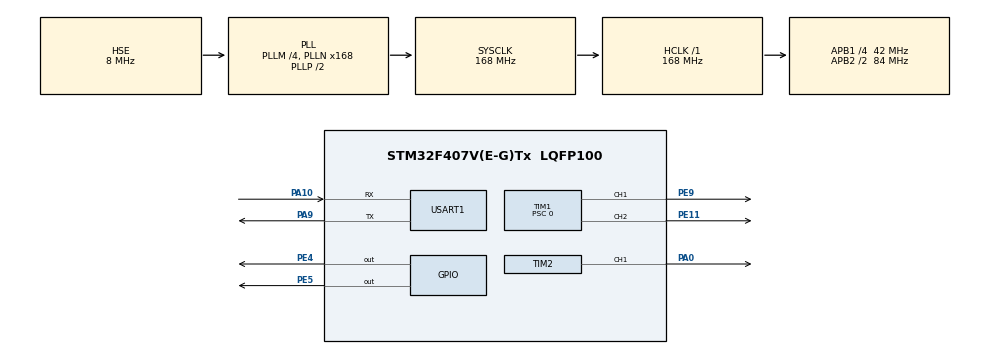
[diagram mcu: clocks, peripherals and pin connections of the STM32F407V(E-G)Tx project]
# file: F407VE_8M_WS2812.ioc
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Mcu.Family=STM32F4
Mcu.Name=STM32F407V(E-G)Tx
Mcu.Package=LQFP100
NVIC.PriorityGroup=NVIC_PRIORITYGROUP_4
NVIC.USART1_IRQn=true\:0\:0\:false\:false\:true\:true\:true
PA0-WKUP.Signal=S_TIM2_CH1_ETR
PA10.GPIO_PuPd=GPIO_PULLUP
PA10.Mode=Asynchronous
PA10.Signal=USART1_RX
PA13.Mode=Serial_Wire
PA13.Signal=SYS_JTMS-SWDIO
PA14.Mode=Serial_Wire
PA14.Signal=SYS_JTCK-SWCLK
PA9.GPIO_PuPd=GPIO_PULLUP
PA9.Mode=Asynchronous
PA9.Signal=USART1_TX
PC14-OSC32_IN.Mode=LSE-External-Oscillator
PC14-OSC32_IN.Signal=RCC_OSC32_IN
PC15-OSC32_OUT.Mode=LSE-External-Oscillator
PC15-OSC32_OUT.Signal=RCC_OSC32_OUT
PE11.Signal=S_TIM1_CH2
PE4.GPIO_ModeDefaultOutputPP=GPIO_MODE_OUTPUT_PP
PE4.GPIO_PuPd=GPIO_PULLUP
PE4.GPIO_Speed=GPIO_SPEED_FREQ_VERY_HIGH
PE4.PinState=GPIO_PIN_SET
PE4.Signal=GPIO_Output
PE5.GPIO_ModeDefaultOutputPP=GPIO_MODE_OUTPUT_PP
PE5.GPIO_PuPd=GPIO_PULLUP
PE5.GPIO_Speed=GPIO_SPEED_FREQ_VERY_HIGH
PE5.PinState=GPIO_PIN_SET
PE5.Signal=GPIO_Output
PE9.Signal=S_TIM1_CH1
PH0-OSC_IN.Mode=HSE-External-Oscillator
PH0-OSC_IN.Signal=RCC_OSC_IN
PH1-OSC_OUT.Mode=HSE-External-Oscillator
PH1-OSC_OUT.Signal=RCC_OSC_OUT
ProjectManager.HeapSize=0x200
ProjectManager.StackSize=0x400
ProjectManager.TargetToolchain=MDK-ARM V5.32
RCC.48MHZClocksFreq_Value=84000000
RCC.AHBFreq_Value=168000000
RCC.APB1CLKDivider=RCC_HCLK_DIV4
RCC.APB1Freq_Value=42000000
RCC.APB1TimFreq_Value=84000000
RCC.APB2CLKDivider=RCC_HCLK_DIV2
RCC.APB2Freq_Value=84000000
RCC.APB2TimFreq_Value=168000000
RCC.CortexFreq_Value=168000000
RCC.HCLKFreq_Value=168000000
RCC.HSE_VALUE=8000000
RCC.HSI_VALUE=16000000
RCC.PLLM=4
RCC.PLLN=168
RCC.PLLSourceVirtual=RCC_PLLSOURCE_HSE
RCC.SYSCLKFreq_VALUE=168000000
RCC.SYSCLKSource=RCC_SYSCLKSOURCE_PLLCLK
RCC.VCOOutputFreq_Value=336000000
SH.S_TIM1_CH1.0=TIM1_CH1,PWM Generation1 CH1
SH.S_TIM1_CH2.0=TIM1_CH2,PWM Generation2 CH2
SH.S_TIM2_CH1_ETR.0=TIM2_CH1,PWM Generation1 CH1
TIM1.AutoReloadPreload=TIM_AUTORELOAD_PRELOAD_DISABLE
TIM1.Channel-PWM\ Generation1\ CH1=TIM_CHANNEL_1
TIM1.Channel-PWM\ Generation2\ CH2=TIM_CHANNEL_2
TIM1.OC1Preload_PWM=ENABLE
TIM1.Period=209
TIM1.Prescaler=0
TIM1.Pulse-PWM\ Generation1\ CH1=0
TIM2.Channel-PWM\ Generation1\ CH1=TIM_CHANNEL_1
TIM2.Period=104
USART1.VirtualMode=VM_ASYNC
VP_TIM1_VS_ClockSourceINT.Mode=Internal
VP_TIM2_VS_ClockSourceINT.Mode=Internal
board=custom

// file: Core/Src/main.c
/* USER CODE BEGIN Header */
/**
  ******************************************************************************
  * @file           : main.c
  * @brief          : Main program body
  ******************************************************************************
  * @attention
  *
  * <h2><center>&copy; Copyright (c) 2021 STMicroelectronics.
  * All rights reserved.</center></h2>
  *
  * This software component is licensed by ST under BSD 3-Clause license,
  * the "License"; You may not use this file except in compliance with the
  * License. You may obtain a copy of the License at:
  *                        opensource.org/licenses/BSD-3-Clause
  *
  ******************************************************************************
  */
/* USER CODE END Header */
#include "main.h"
#include "tim.h"
#include "usart.h"
#include "gpio.h"

/* USER CODE BEGIN Includes */
#include "WS2812/ws2812.h"
/* USER CODE END Includes */

/* USER CODE BEGIN PV */
MyUARTHandle uart1;
uint8_t uartBuf1[100];
uint8_t testBuf[30];
/* USER CODE END PV */

void SystemClock_Config(void);

int main(void)
{
  /* USER CODE BEGIN 1 */
  uint32_t i;
  WS2812_Dev ws2812Dev1, ws2812Dev2, ws2812Dev3; // TIM1CH1, TIM1CH2, TIM2CH1
  /* USER CODE END 1 */

  /* MCU Configuration--------------------------------------------------------*/

  /* Reset of all peripherals, Initializes the Flash interface and the Systick. */
  HAL_Init();

  /* Configure the system clock */
  SystemClock_Config();

  /* Initialize all configured peripherals */
  MX_GPIO_Init();
  MX_USART1_UART_Init();
  MX_TIM1_Init();
  MX_TIM2_Init();
  /* USER CODE BEGIN 2 */
  Delay_Init(168);
  MyUART_Init(&uart1, USART1, uartBuf1, 100);
  WS2812_Init(&ws2812Dev1, DMA2_Stream5, DMA_CHANNEL_6, DMA2_Stream5_IRQn, &htim1);
  WS2812_Init(&ws2812Dev2, DMA2_Stream5, DMA_CHANNEL_6, DMA2_Stream5_IRQn, &htim1);
  WS2812_Init(&ws2812Dev3, DMA1_Stream1, DMA_CHANNEL_3, DMA1_Stream1_IRQn, &htim2);
  for(i = 0; i < 30; i += 2)
  {
    testBuf[i] = 0x00;
    testBuf[i + 1] = 0x80;
  }
  /* USER CODE END 2 */

  /* Infinite loop */
  while (1)
  {

    /* USER CODE BEGIN 3 */
    WS2812_Write(&ws2812Dev1, TIM_CHANNEL_1, testBuf, 30);
    WS2812_Write(&ws2812Dev2, TIM_CHANNEL_2, testBuf, 30);
    WS2812_Write(&ws2812Dev3, TIM_CHANNEL_1, testBuf, 30);
  }
  /* USER CODE END 3 */
}

void SystemClock_Config(void)
{
  RCC_OscInitTypeDef RCC_OscInitStruct = {0};
  RCC_ClkInitTypeDef RCC_ClkInitStruct = {0};

  /** Configure the main internal regulator output voltage
  */
  __HAL_RCC_PWR_CLK_ENABLE();
  __HAL_PWR_VOLTAGESCALING_CONFIG(PWR_REGULATOR_VOLTAGE_SCALE1);
  /** Initializes the RCC Oscillators according to the specified parameters
  * in the RCC_OscInitTypeDef structure.
  */
  RCC_OscInitStruct.OscillatorType = RCC_OSCILLATORTYPE_HSE;
  RCC_OscInitStruct.HSEState = RCC_HSE_ON;
  RCC_OscInitStruct.PLL.PLLState = RCC_PLL_ON;
  RCC_OscInitStruct.PLL.PLLSource = RCC_PLLSOURCE_HSE;
  RCC_OscInitStruct.PLL.PLLM = 4;
  RCC_OscInitStruct.PLL.PLLN = 168;
  RCC_OscInitStruct.PLL.PLLP = RCC_PLLP_DIV2;
  RCC_OscInitStruct.PLL.PLLQ = 4;
  if (HAL_RCC_OscConfig(&RCC_OscInitStruct) != HAL_OK)
  {
    Error_Handler();
  }
  /** Initializes the CPU, AHB and APB buses clocks
  */
  RCC_ClkInitStruct.ClockType = RCC_CLOCKTYPE_HCLK|RCC_CLOCKTYPE_SYSCLK
                              |RCC_CLOCKTYPE_PCLK1|RCC_CLOCKTYPE_PCLK2;
  RCC_ClkInitStruct.SYSCLKSource = RCC_SYSCLKSOURCE_PLLCLK;
  RCC_ClkInitStruct.AHBCLKDivider = RCC_SYSCLK_DIV1;
  RCC_ClkInitStruct.APB1CLKDivider = RCC_HCLK_DIV4;
  RCC_ClkInitStruct.APB2CLKDivider = RCC_HCLK_DIV2;

  if (HAL_RCC_ClockConfig(&RCC_ClkInitStruct, FLASH_LATENCY_5) != HAL_OK)
  {
    Error_Handler();
  }
}

/* USER CODE BEGIN 4 */
void DMA2_Stream5_IRQHandler(void)
{
  WS2812_UpdateBuf();
}
void DMA1_Stream1_IRQHandler(void)
{
  WS2812_UpdateBuf();
}
/* USER CODE END 4 */

void Error_Handler(void)
{
  __disable_irq();
  while (1)
  {
  }
}

/************************ (C) COPYRIGHT STMicroelectronics *****END OF FILE****/
